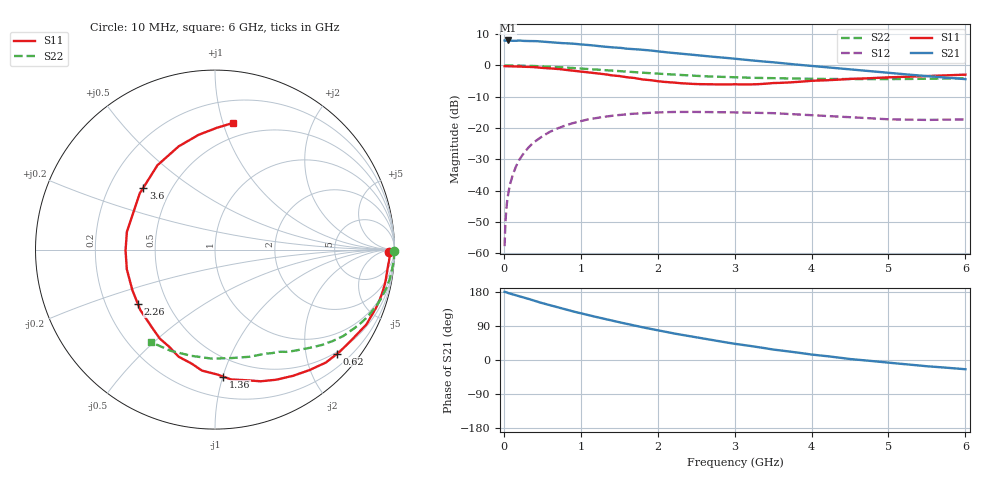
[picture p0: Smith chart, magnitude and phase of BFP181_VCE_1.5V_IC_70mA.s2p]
! Infineon Technologies  Discrete & RF Semiconductors
! BFP181
! VCE = 1.5 V,  IC =  70 mA
! Common Emitter S-Parameters:  Jan 2016
# GHz  S  MA  R  50
!  f  S11  S21  S12  S22
! GHz  MAG  ANG  MAG  ANG  MAG  ANG  MAG  ANG
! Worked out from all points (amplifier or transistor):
!   210 points, 10 MHz to 6 GHz, reference 50 ohm
!   highest |S21| = 8.0 dB at 50 MHz (marker M1)
!   |S21| within 3 dB of that: start of sweep to 1.814 GHz
!   unconditionally stable (mu >= 1): 3.275 GHz to end of sweep
!   at 185 MHz: K = 0.07, MSG = 19.4 dB, |S12| = -30.9 dB
!   at 1.52 GHz: K = 0.49, MSG = 10.7 dB, |S12| = -15.8 dB
!   at 6 GHz: K = 1.39, MAG = 2.7 dB, |S12| = -17.2 dB
!   S11 on the Smith chart (normalised r, x): 10 MHz: 57, -28; 620 MHz: 0.46, -2.65; 1.36 GHz: 0.35, -1.00; 2.26 GHz: 0.34, -0.28; 3.6 GHz: 0.35, +0.33; 6 GHz: 0.38, +1.08
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0.01  0.9722 -0.8  2.503 179.8  0.0013 84.9  0.9998 -0.3
0.015  0.9738 -1.0  2.492 179.7  0.0021 89.9  0.9986 -0.5
0.025  0.9749 -1.5  2.486 179.1  0.0038 91.2  0.9975 -0.8
0.05  0.9731 -3.1  2.508 177.0  0.0079 89.5  0.9974 -1.6
0.08  0.9687 -5.2  2.491 175.3  0.0124 86.2  0.9983 -2.6
0.12  0.9662 -8.0  2.476 172.9  0.0185 83.5  0.9972 -3.8
0.22  0.9619 -14.6  2.489 166.8  0.0339 79.8  0.9915 -7.0
0.4  0.9412 -26.3  2.458 156.0  0.0604 72.0  0.9795 -12.5
0.62  0.8943 -40.4  2.341 143.5  0.0896 62.4  0.9525 -19.1
0.9  0.8266 -58.3  2.233 128.2  0.1204 50.9  0.9106 -26.6
1.02  0.7958 -65.9  2.16 122.3  0.1309 46.4  0.8905 -29.6
1.1  0.7765 -70.9  2.132 118.0  0.138 43.6  0.8778 -31.4
1.36  0.7085 -86.4  1.967 106.2  0.1546 34.9  0.8346 -37.3
1.7  0.6304 -108.7  1.826 91.0  0.1699 25.3  0.7808 -43.7
2.02  0.5576 -129.2  1.671 77.6  0.1781 17.8  0.7378 -48.8
2.26  0.5256 -144.9  1.559 68.3  0.1809 12.4  0.7104 -52.8
2.8  0.4984 -179.4  1.351 49.3  0.1802 2.6  0.66 -60.9
3.1  0.4972 163.4  1.248 40.1  0.1769 -2.0  0.64 -65.6
3.6  0.5277 139.2  1.092 25.2  0.1706 -7.6  0.6233 -73.7
4.1  0.5739 121.2  0.958 12.3  0.1586 -11.6  0.6089 -83.4
5.1  0.6513 96.2  0.743 -8.9  0.1374 -12.7  0.6063 -104.7
6  0.7134 81.8  0.605 -24.4  0.1376 -7.3  0.6274 -124.7
